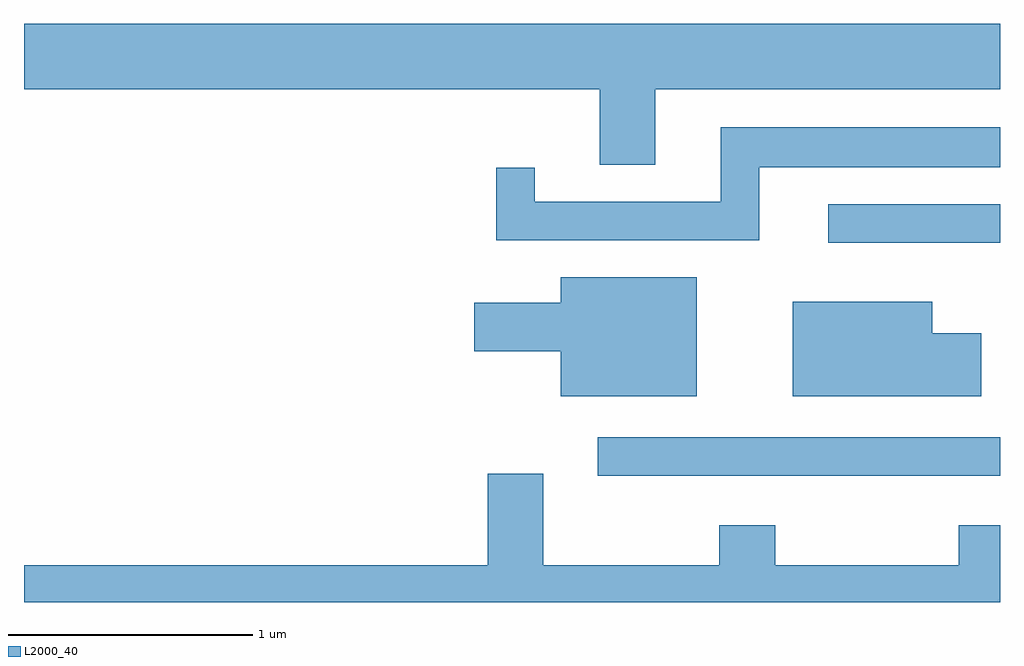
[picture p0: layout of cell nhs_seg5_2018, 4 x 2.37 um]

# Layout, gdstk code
import gdstk
lib = gdstk.Library(unit=1e-6, precision=1e-09)
def R(c, l, rs):  # rectangles x0, y0, x1, y1
    for r in rs: c.add(gdstk.rectangle(r[:2], r[2:], *l))
def P(c, l, *ps):  # polygons
    for p in ps: c.add(gdstk.Polygon(p, *l))
L2000_40 = (2000, 40)

nhs_seg5_2018 = lib.new_cell('nhs_seg5_2018')
R(nhs_seg5_2018, L2000_40, [(247.963,1408.591,249.611,1408.749), (248.908,1409.546,249.611,1409.704)])
P(nhs_seg5_2018, L2000_40, [(248.199,1410.176),(249.611,1410.176),(249.611,1410.444),(245.611,1410.444),(245.611,1410.176),(247.971,1410.176),(247.971,1409.866),(248.199,1409.866)],
  [(248.624,1409.856),(249.611,1409.856),(249.611,1410.019),(248.466,1410.019),(248.466,1409.714),(247.704,1409.714),(247.704,1409.853),(247.546,1409.853),(247.546,1409.556),(248.624,1409.556)],
  [(248.369,1409.404),(247.811,1409.404),(247.811,1409.299),(247.456,1409.299),(247.456,1409.101),(247.811,1409.101),(247.811,1408.916),(248.369,1408.916)],
  [(249.534,1409.174),(249.334,1409.174),(249.334,1409.304),(248.761,1409.304),(248.761,1408.916),(249.534,1408.916)],
  [(249.611,1408.389),(249.441,1408.389),(249.441,1408.224),(248.689,1408.224),(248.689,1408.389),(248.461,1408.389),(248.461,1408.224),(247.739,1408.224),(247.739,1408.599),(247.511,1408.599),(247.511,1408.224),(245.611,1408.224),(245.611,1408.072),(249.611,1408.072)])

lib.write_gds('nhs_seg5_2018.gds')
